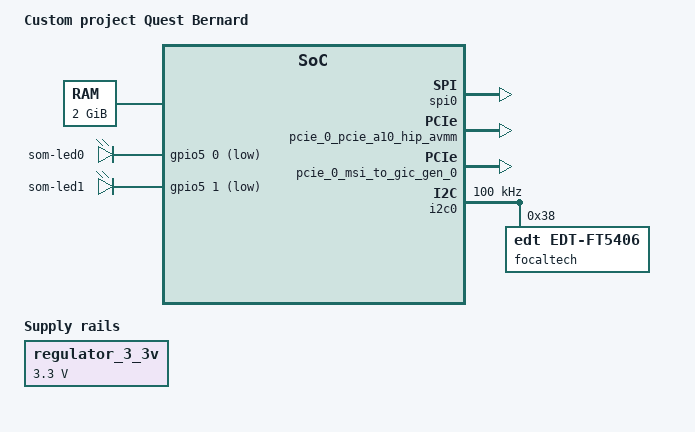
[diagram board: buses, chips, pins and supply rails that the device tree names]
/*
 *  Copyright (C) 2018 Quest Innovations <www.quest-innovations.com>
 *
 * This program is free software; you can redistribute it and/or modify
 * it under the terms of the GNU General Public License as published by
 * the Free Software Foundation; either version 2 of the License, or
 * (at your option) any later version.
 *
 * This program is distributed in the hope that it will be useful,
 * but WITHOUT ANY WARRANTY; without even the implied warranty of
 * MERCHANTABILITY or FITNESS FOR A PARTICULAR PURPOSE.  See the
 * GNU General Public License for more details.
 *
 * You should have received a copy of the GNU General Public License
 * along with this program.  If not, see <http://www.gnu.org/licenses/>.
 */

/dts-v1/;

#include "socfpga_arria10_rxc.dtsi"
#include <dt-bindings/interrupt-controller/irq.h>
#include <dt-bindings/gpio/gpio.h>

/ {	
	model = "Custom project Quest Bernard";
	compatible = "altr,socfpga-arria10", "altr,socfpga";

	aliases {
		ethernet0 = &gmac0;
		serial0 = &uart1;
	};


	memory@0 {
		name = "memory";
		device_type = "memory";
		reg = <0x0 0x80000000>; /* 2GB */
	};

	clocks {
		#address-cells = <1>;
		#size-cells = <1>;

		pcie_0_clk_100: pcie_0_clk_100 {
			compatible = "fixed-clock";
			#clock-cells = <0>;
			clock-frequency = <100000000>;	/* 100,00 MHz */
			clock-output-names = "pcie_0_clk_100-clk";
		}; //end f2h_hp_clk (f2h_hp_clk)

		h2f_hp_clk: h2f_hp_clk {
			compatible = "fixed-clock";
			#clock-cells = <0>;
			clock-frequency = <125000000>;	/* 125,00 MHz */
			clock-output-names = "h2f_hp_clk-clk";
		}; //end h2f_hp_clk (h2f_hp_clk)

		h2f_lw_clk: h2f_lw_clk {
			compatible = "fixed-clock";
			#clock-cells = <0>;
			clock-frequency = <125000000>;	/* 125,00 MHz */
			clock-output-names = "h2f_lw_clk-clk";
		}; //end h2f_lw_clk (h2f_lw_clk)
	};



	somleds {
		compatible = "gpio-leds";

		a10sr_led0 {
			label = "som-led0";
			gpios = <&gpio5 0 GPIO_ACTIVE_LOW>;
			linux,default-trigger = "hartbeat";
		};

		a10sr_led1 {
			label = "som-led1";
			gpios = <&gpio5 1 GPIO_ACTIVE_LOW>;
			linux,default-trigger = "panic";
		};
	};

	soc {
		framebuffer0: framebuffer@0xff206C00 {
			status = "disabled";
			compatible = "altr,vip-frame-buffer-2.0";
			reg = <0xff206C00 0x00000040>;
			altr,max-width = <800>;
			altr,max-height = <480>;
			altr,mem-port-width = <128>;

			ports {
				#address-cells = <1>;
				#size-cells = <0>;

				port@1 {
					reg = <1>;
					fb_output0: endpoint {
						remote-endpoint = <&pannel_0>;
					};
				};
			};
		};

		framebuffer1: framebuffer@0xff206000 {
			status = "disabled";
			compatible = "altr,vip-frame-buffer-2.0";
			reg = <0xff206000 0x00000040>;
			altr,max-width = <800>;
			altr,max-height = <600>;
			altr,mem-port-width = <128>;

			ports {
				#address-cells = <1>;
				#size-cells = <0>;

				port@1 {
					reg = <1>;
					fb_output1: endpoint {
						remote-endpoint = <&pannel_1>;
					};
				};
			};
		};

		gpio3: gpio@0xff206040 {
			status = "disabled";
			compatible = "altr,pio-1.0";
			reg = <0xff206040 0x00000010>;
			clocks = <&h2f_lw_clk>;
			altr,ngpio = <32>;
			altr,interrupt-type = <3>;
			edge_type = <2>;
			#gpio-cells = <2>;
			gpio-controller;
			interrupt-controller;
			interrupt-parent = <&intc>;
			#interrupt-cells = <1>;
			interrupts = <0 28 IRQ_TYPE_LEVEL_HIGH>; // irq9
		};

		gpio5: gpio@0xff207000 {
			status = "disabled";
			compatible = "altr,pio-1.0";
			reg = <0xff207000 0x00000010>;
			clocks = <&h2f_lw_clk>;
			altr,ngpio = <2>;
			altr,interrupt-type = <3>;
			#gpio-cells = <2>;
			gpio-controller;
		};

		uart2: serial@0xff206440 {
			status = "disabled";
			compatible = "altr,uart-1.0";
			clocks = <&h2f_lw_clk>;
			clock-frequency = <75000000>;
			reg = <0xff206440 0x20>;
			interrupt-parent = <&intc>;
			interrupts = <0 20 IRQ_TYPE_LEVEL_HIGH>; // irq1
			current-speed = <57600>;
		};

		uart3: serial@0xff206460 {
			status = "disabled";
			compatible = "altr,uart-1.0";
			clocks = <&h2f_lw_clk>;
			clock-frequency = <75000000>;
			reg = <0xff206460 0x20>;
			interrupt-parent = <&intc>;
			interrupts = <0 26 IRQ_TYPE_LEVEL_HIGH>; // irq7
			current-speed = <57600>;
		};

		uart4: serial@0xff206480 {
			status = "disabled";
			compatible = "altr,uart-1.0";
			clocks = <&h2f_lw_clk>;
			clock-frequency = <75000000>;
			reg = <0xff206480 0x20>;
			interrupt-parent = <&intc>;
			interrupts = <0 29 IRQ_TYPE_LEVEL_HIGH>; // irq10
			current-speed = <57600>;
		};

		spi0: spi@ffda4000 {
			compatible = "snps,dw-apb-ssi";
			#address-cells = <1>;
			#size-cells = <0>;
			reg = <0xffda4000 0x100>;
			interrupts = <0 101 4>;
			num-chipselect = <4>;
			bus-num = <0>;
			/*32bit_access;*/
			tx-dma-channel = <&pdma 16>;
			rx-dma-channel = <&pdma 17>;
			clocks = <&spi_m_clk>;
			status = "okay";
		};


		pcie_0_pcie_a10_hip_avmm: pcie@0xd0000000 {
			status = "okay";
			compatible = "altr,pcie-root-port-16.1", "altr,pcie-root-port-1.0";
			reg = <0xd0000000 0x10000000>,
				<0xff210000 0x00004000>;
			reg-names = "Txs", "Cra";
			interrupt-parent = <&intc>;
			interrupts = <0 25 IRQ_TYPE_LEVEL_HIGH>; // irq6
			interrupt-controller;
			#interrupt-cells = <1>;
			device_type = "pci";	/* embeddedsw.dts.params.device_type type STRING */
//			bus-range = <0x00000000 0x000000ff>;
			bus-ranges = <0 0>;
			ranges = <0x83000000 0x00000000 0x00000000 0xd0000000 0x00000000 0x10000000>;
			msi-parent = <&pcie_0_msi_to_gic_gen_0>;
			#address-cells = <3>;
			#size-cells = <2>;
			interrupt-map-mask = <0 0 0 7>;
			interrupt-map = <0 0 0 1 &pcie_0_pcie_a10_hip_avmm 1>,
				<0 0 0 2 &pcie_0_pcie_a10_hip_avmm 2>,
				<0 0 0 3 &pcie_0_pcie_a10_hip_avmm 3>,
				<0 0 0 4 &pcie_0_pcie_a10_hip_avmm 4>;
		}; //end pcie@0x010000000 (pcie_0_pcie_a10_hip_avmm)
		
		pcie_0_msi_to_gic_gen_0: msi@0xff214080 {
			status = "okay";
			compatible = "altr,msi-1.0", "altr,msi-1.0";
			reg = <0xff214080 0x00000010>,
				<0xff214000 0x00000080>;
			reg-names = "csr", "vector_slave";
			num-vectors = <32>;	/* embeddedsw.dts.params.num-vectors type NUMBER */
			interrupt-parent = <&intc>;
			interrupts = <0 24 IRQ_TYPE_LEVEL_HIGH>; // irq5
			clocks = <&h2f_lw_clk>;
			msi-controller = <1>;	/* embeddedsw.dts.params.msi-controller type NUMBER */
		}; //end msi@0x100014080 (pcie_0_msi_to_gic_gen_0)
		

	};

	pannel_0: panel {
		status = "disabled";
		//compatible = "dvi-connector";
		compatible = "nhd,nhd-5-800480tf-atxi-ctp";
		//compatible = "ampire,am800480r3tmqwa1h";
		power-supply = <&regulator_3_3v>;
	};

	pannel_1: panel {
		status = "disabled";
		//compatible = "dvi-connector";
		compatible = "auo,g104sn02";
		//compatible = "ampire,am800480r3tmqwa1h";
		power-supply = <&regulator_3_3v>;
	};
	
	regulator_3_3v: vcc3p3-regulator {
		compatible = "regulator-fixed";
		regulator-name = "VCC3P3";
		regulator-min-microvolt = <3300000>;
		regulator-max-microvolt = <3300000>;
	};
};

&i2c0 {
	emptyfifo_hold_master = <1>;
	status = "okay";	
	speed-mode = <0>;
	clock-frequency = <100000>;
	i2c-sda-falling-time-ns = <6000>;
	i2c-scl-falling-time-ns = <6000>;
	
	focaltech@38 {
		compatible = "edt,edt-ft5406", "edt,edt-ft5x06";
		reg = <0x38>;
		//pinctrl-names = "default";
		//pinctrl-0 = <&edt_ft5x06_pins>;
		interrupt-parent = <&intc>;
		interrupts = <0 51 IRQ_TYPE_LEVEL_HIGH>;
		//reset-gpios = <&gpio2 6 GPIO_ACTIVE_LOW>;
		//wake-gpios = <&gpio3 0 0>;
	        touchscreen-size-x = <800>;
		touchscreen-size-y = <480>;
	};
};
